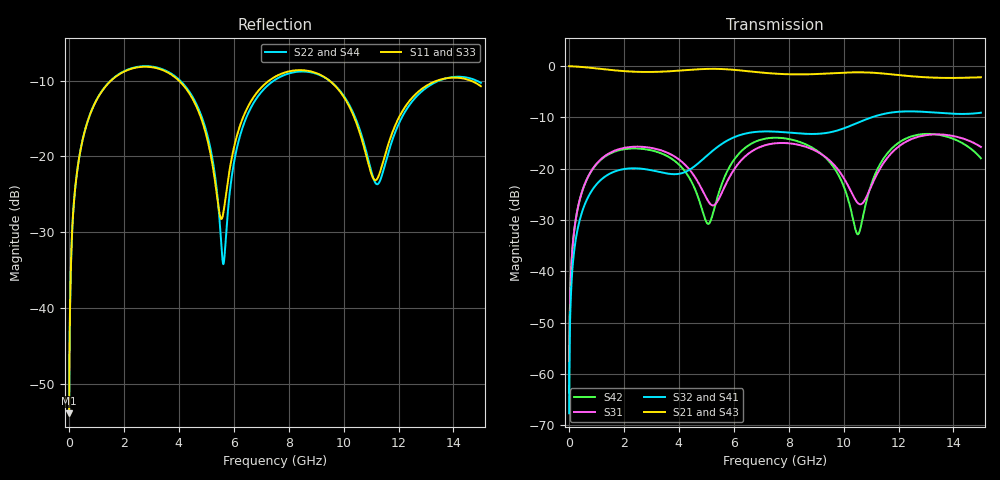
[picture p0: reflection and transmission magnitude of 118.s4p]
! Created with skrf 1.8.0 (http://scikit-rf.org).
# GHz S RI R 50.0
!freq ReS11 ImS11 ReS12 ImS12 ReS13 ImS13
! ReS14 ImS14
! ReS21 ImS21 ReS22 ImS22 ReS23 ImS23
! ReS24 ImS24
! ReS31 ImS31 ReS32 ImS32 ReS33 ImS33
! ReS34 ImS34
! ReS41 ImS41 ReS42 ImS42 ReS43 ImS43
! ReS44 ImS44
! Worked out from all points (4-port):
!   2499 points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, 5 MHz to 15 GHz, reference 50 ohm
!   strongest paths, dB at 5 MHz, 3.476 GHz, 7.19 GHz, 11.1 GHz, 15 GHz:
!     S21: 0.0, -1.1, -1.3, -1.3, -2.2
!     S43: 0.0, -1.1, -1.3, -1.3, -2.2
!     S32: -67.7, -20.8, -12.7, -9.8, -9.1
!     S41: -67.7, -21.0, -12.8, -9.8, -9.2
!     S31: -63.6, -16.6, -15.4, -22.3, -15.7
!     S42: -63.6, -17.3, -14.1, -21.7, -18.0
!   lowest |S11| = -53.9 dB at 5 MHz (marker M1), VSWR 1.00, Z = 50.2 + j0.122 ohm
!   |S11| at or under -10 dB: start of sweep to 1.534 GHz; 4 GHz to 7.291 GHz (3.291 GHz wide, 58.3 % of centre); 9.479 GHz to 13.42 GHz (3.936 GHz wide, 34.4 % of centre)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
0.005  0.00161 0.00122  0.9984 -0.00313  8.12e-05 0.000653  -7.87e-05 -0.000407
       0.9984 -0.00313  0.00161 0.00122  -7.87e-05 -0.000407  8.1e-05 0.000653
       8.12e-05 0.000653  -7.87e-05 -0.000407  0.00161 0.00122  0.9984 -0.00313
       -7.87e-05 -0.000407  8.1e-05 0.000653  0.9984 -0.00313  0.00161 0.00122
0.3126303  0.0232 0.0803  0.9683 -0.1947  0.0112 0.0388  -0.009 -0.024
           0.9683 -0.1947  0.0233 0.0803  -0.00902 -0.024  0.0105 0.0389
           0.0112 0.0388  -0.00902 -0.024  0.0232 0.0803  0.9683 -0.1947
           -0.009 -0.024  0.0105 0.0389  0.9683 -0.1947  0.0233 0.0803
1.519383  0.2556 0.1831  0.5765 -0.7129  0.1305 0.061  -0.0896 -0.0108
          0.5765 -0.7129  0.2584 0.1814  -0.0898 -0.0106  0.1214 0.0725
          0.1305 0.061  -0.0898 -0.0106  0.2555 0.1832  0.5765 -0.7129
          -0.0896 -0.0108  0.1214 0.0725  0.5765 -0.7129  0.2586 0.1813
5.433514  0.0397 -0.027  -0.9269 -0.1499  -0.0405 0.0283  -0.0259 0.1628
          -0.9269 -0.1499  0.0217 -0.0435  -0.0209 0.1635  0.0329 0.0449
          -0.0405 0.0283  -0.0209 0.1635  0.0412 -0.0278  -0.9268 -0.15
          -0.0259 0.1628  0.0329 0.0449  -0.9268 -0.15  0.0209 -0.0444
8.741142  0.3612 -0.0547  0.0299 0.8318  0.1334 -0.0874  0.2049 -0.0652
          0.0299 0.8318  0.3577 -0.0404  0.2046 -0.0764  0.1388 -0.0927
          0.1334 -0.0874  0.2046 -0.0764  0.3594 -0.052  0.0306 0.8318
          0.2049 -0.0652  0.1388 -0.0927  0.0306 0.8318  0.3591 -0.0439
11.43602  0.0812 0.0423  0.8467 0.017  0.0165 0.1104  0.00112 -0.3409
          0.8467 0.017  0.0726 0.0314  -0.019 -0.3402  0.0389 0.1172
          0.0165 0.1104  -0.019 -0.3402  0.0854 0.0393  0.8467 0.0155
          0.00112 -0.3409  0.0389 0.1172  0.8467 0.0155  0.0691 0.0336
15  0.2712 -0.1032  -0.2087 -0.7501  0.0487 -0.1557  -0.3265 0.1196
    -0.2087 -0.7501  0.2865 -0.1051  -0.3174 0.1506  0.0622 -0.1102
    0.0487 -0.1557  -0.3174 0.1506  0.2719 -0.0942  -0.2116 -0.7487
    -0.3265 0.1196  0.0622 -0.1102  -0.2116 -0.7487  0.2878 -0.1153
